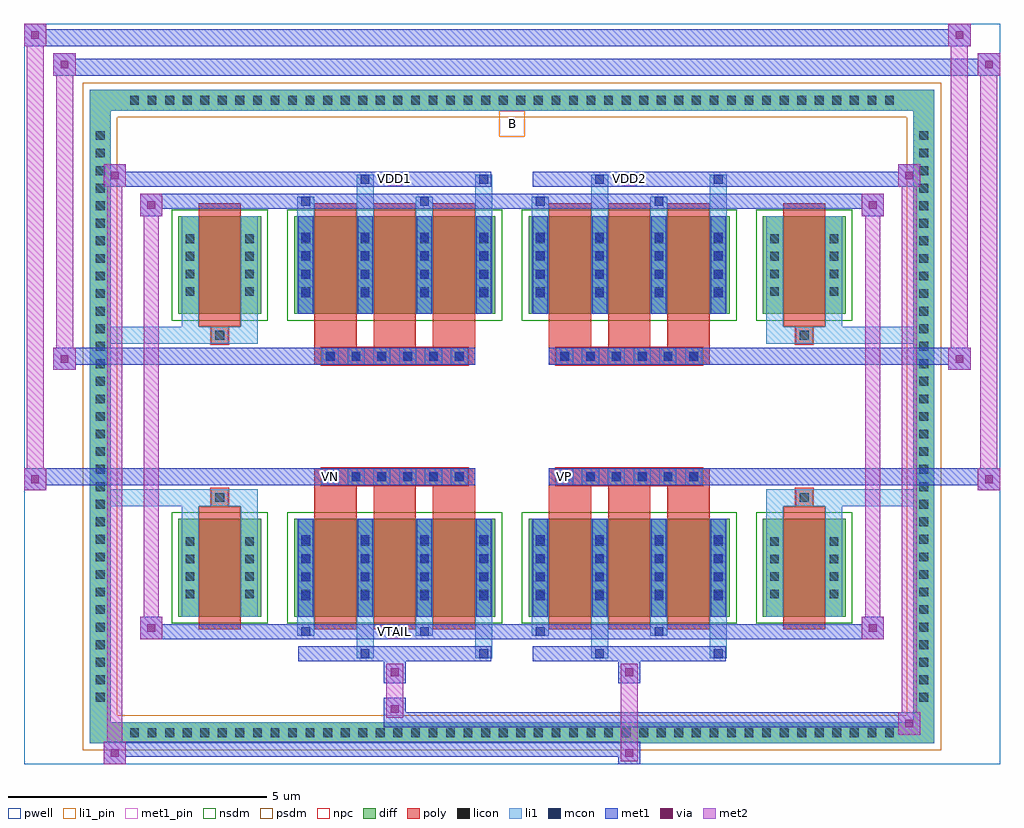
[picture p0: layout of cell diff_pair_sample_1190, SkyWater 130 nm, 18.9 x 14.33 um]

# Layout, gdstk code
import gdstk
lib = gdstk.Library(unit=1e-6, precision=5e-09)
def R(c, l, rs):  # rectangles x0, y0, x1, y1
    for r in rs: c.add(gdstk.rectangle(r[:2], r[2:], *l))
def A(c, l, x, y, w, h, nx, ny, dx, dy):  # array of equal rectangles
    R(c, l, [(x+i*dx, y+j*dy, x+i*dx+w, y+j*dy+h) for i in range(nx) for j in range(ny)])
def P(c, l, *ps):  # polygons
    for p in ps: c.add(gdstk.Polygon(p, *l))
pwell = (64, 44)
diff = (65, 20)
poly = (66, 20)
licon = (66, 44)
li1_pin = (67, 16)
li1 = (67, 20)
mcon = (67, 44)
met1_pin = (68, 16)
met1 = (68, 20)
via = (68, 44)
met2 = (69, 20)
nsdm = (93, 44)
psdm = (94, 20)
npc = (95, 20)

diff_pair_sample_1190 = lib.new_cell('diff_pair_sample_1190')
R(diff_pair_sample_1190, pwell, [(-9.45,-6.73,9.45,7.6), (-6.77,-4.92,-0.01,-0.8), (0.01,-4.92,6.77,-0.8), (-6.77,0.8,-0.01,4.92), (0.01,0.8,6.77,4.92)])
A(diff_pair_sample_1190, diff, -7.515, -6.33, 0.41, 0.41, 44, 2, 0.34, 12.25)
A(diff_pair_sample_1190, diff, -8.18, -5.645, 0.41, 0.41, 1, 33, 0, 0.34)
A(diff_pair_sample_1190, diff, 7.77, -5.645, 0.41, 0.41, 1, 33, 0, 0.34)
R(diff_pair_sample_1190, diff, [(-7.515,-6.33,7.515,-5.92), (-8.18,-5.645,-7.77,5.645), (7.77,-5.645,8.18,5.645), (-6.46,-3.875,-4.86,-1.985), (-4.22,-3.875,-0.32,-1.985), (0.32,-3.875,4.22,-1.985), (4.86,-3.875,6.46,-1.985), (-6.46,1.985,-4.86,3.875), (-4.22,1.985,-0.32,3.875), (0.32,1.985,4.22,3.875), (4.86,1.985,6.46,3.875), (-7.515,5.92,7.515,6.33)])
P(diff_pair_sample_1190, diff, [(8.18,6.33),(-8.18,6.33),(-8.18,-5.92),(-7.77,-5.92),(-7.77,5.92),(7.77,5.92),(7.77,-5.92),(-7.77,-5.92),(-8.18,-5.92),(-8.18,-6.33),(8.18,-6.33)])
A(diff_pair_sample_1190, poly, -3.83, -4.125, 0.82, 2.39, 3, 2, 1.15, 5.86)
A(diff_pair_sample_1190, poly, 0.71, -4.125, 0.82, 2.39, 3, 2, 1.15, 5.86)
A(diff_pair_sample_1190, poly, -3.83, -1.735, 0.82, 0.405, 3, 2, 1.15, 3.065)
A(diff_pair_sample_1190, poly, 0.71, -1.735, 0.82, 0.405, 3, 2, 1.15, 3.065)
A(diff_pair_sample_1190, poly, -3.685, -1.33, 0.33, 0.33, 6, 2, 0.5, 2.33)
A(diff_pair_sample_1190, poly, 0.855, -1.33, 0.33, 0.33, 6, 2, 0.5, 2.33)
R(diff_pair_sample_1190, poly, [(-6.07,-4.125,-5.25,-1.735), (5.25,-4.125,6.07,-1.735), (-5.825,-1.735,-5.495,-1.405), (-5.825,-1.735,-5.495,-1.405), (5.495,-1.735,5.825,-1.405), (5.495,-1.735,5.825,-1.405), (-3.83,-1.33,-0.71,-1), (0.71,-1.33,3.83,-1), (-3.83,1,-0.71,1.33), (0.71,1,3.83,1.33), (-5.825,1.405,-5.495,1.735), (-5.825,1.405,-5.495,1.735), (5.495,1.405,5.825,1.735), (5.495,1.405,5.825,1.735), (-6.07,1.735,-5.25,4.125), (5.25,1.735,6.07,4.125)])
A(diff_pair_sample_1190, licon, -7.395, -6.21, 0.17, 0.17, 44, 2, 0.34, 12.25)
A(diff_pair_sample_1190, licon, -8.06, -5.525, 0.17, 0.17, 1, 33, 0, 0.34)
A(diff_pair_sample_1190, licon, 7.89, -5.525, 0.17, 0.17, 1, 33, 0, 0.34)
A(diff_pair_sample_1190, licon, -6.32, -3.525, 0.17, 0.17, 1, 4, 0, 0.34)
A(diff_pair_sample_1190, licon, -5.17, -3.525, 0.17, 0.17, 1, 4, 0, 0.34)
A(diff_pair_sample_1190, licon, -4.08, -3.525, 0.17, 0.17, 4, 4, 1.15, 0.34)
A(diff_pair_sample_1190, licon, 0.46, -3.525, 0.17, 0.17, 4, 4, 1.15, 0.34)
A(diff_pair_sample_1190, licon, 5, -3.525, 0.17, 0.17, 1, 4, 0, 0.34)
A(diff_pair_sample_1190, licon, 6.15, -3.525, 0.17, 0.17, 1, 4, 0, 0.34)
A(diff_pair_sample_1190, licon, -3.605, -1.25, 0.17, 0.17, 6, 2, 0.5, 2.33)
A(diff_pair_sample_1190, licon, 0.935, -1.25, 0.17, 0.17, 6, 2, 0.5, 2.33)
A(diff_pair_sample_1190, licon, -6.32, 2.335, 0.17, 0.17, 1, 4, 0, 0.34)
A(diff_pair_sample_1190, licon, -5.17, 2.335, 0.17, 0.17, 1, 4, 0, 0.34)
A(diff_pair_sample_1190, licon, -4.08, 2.335, 0.17, 0.17, 4, 4, 1.15, 0.34)
A(diff_pair_sample_1190, licon, 0.46, 2.335, 0.17, 0.17, 4, 4, 1.15, 0.34)
A(diff_pair_sample_1190, licon, 5, 2.335, 0.17, 0.17, 1, 4, 0, 0.34)
A(diff_pair_sample_1190, licon, 6.15, 2.335, 0.17, 0.17, 1, 4, 0, 0.34)
R(diff_pair_sample_1190, licon, [(-5.745,-1.655,-5.575,-1.485), (5.575,-1.655,5.745,-1.485), (-5.745,1.485,-5.575,1.655), (5.575,1.485,5.745,1.655)])
R(diff_pair_sample_1190, li1_pin, [(-0.25,5.42,0.25,5.92)])
A(diff_pair_sample_1190, li1, -7.475, -6.29, 0.33, 0.33, 44, 2, 0.34, 12.25)
A(diff_pair_sample_1190, li1, -8.14, -5.605, 0.33, 0.33, 1, 33, 0, 0.34)
A(diff_pair_sample_1190, li1, 7.81, -5.605, 0.33, 0.33, 1, 33, 0, 0.34)
A(diff_pair_sample_1190, li1, -4.16, -3.875, 0.33, 1.89, 4, 2, 1.15, 5.86)
A(diff_pair_sample_1190, li1, 0.38, -3.875, 0.33, 1.89, 4, 2, 1.15, 5.86)
A(diff_pair_sample_1190, li1, -6.4, -3.605, 0.33, 0.33, 1, 4, 0, 0.34)
A(diff_pair_sample_1190, li1, -5.25, -3.605, 0.33, 0.33, 1, 4, 0, 0.34)
A(diff_pair_sample_1190, li1, -4.16, -3.605, 0.33, 0.33, 4, 4, 1.15, 0.34)
A(diff_pair_sample_1190, li1, 0.38, -3.605, 0.33, 0.33, 4, 4, 1.15, 0.34)
A(diff_pair_sample_1190, li1, 4.92, -3.605, 0.33, 0.33, 1, 4, 0, 0.34)
A(diff_pair_sample_1190, li1, 6.07, -3.605, 0.33, 0.33, 1, 4, 0, 0.34)
A(diff_pair_sample_1190, li1, -4.08, -3.555, 0.17, 0.17, 4, 4, 1.15, 0.36)
A(diff_pair_sample_1190, li1, -4.08, -3.555, 0.17, 1.25, 4, 2, 1.15, 5.86)
A(diff_pair_sample_1190, li1, 0.46, -3.555, 0.17, 0.17, 4, 4, 1.15, 0.36)
A(diff_pair_sample_1190, li1, 0.46, -3.555, 0.17, 1.25, 4, 2, 1.15, 5.86)
A(diff_pair_sample_1190, li1, -3.685, -1.33, 0.33, 0.33, 6, 2, 0.5, 2.33)
A(diff_pair_sample_1190, li1, 0.855, -1.33, 0.33, 0.33, 6, 2, 0.5, 2.33)
A(diff_pair_sample_1190, li1, -6.4, 2.255, 0.33, 0.33, 1, 4, 0, 0.34)
A(diff_pair_sample_1190, li1, -5.25, 2.255, 0.33, 0.33, 1, 4, 0, 0.34)
A(diff_pair_sample_1190, li1, -4.16, 2.255, 0.33, 0.33, 4, 4, 1.15, 0.34)
A(diff_pair_sample_1190, li1, 0.38, 2.255, 0.33, 0.33, 4, 4, 1.15, 0.34)
A(diff_pair_sample_1190, li1, 4.92, 2.255, 0.33, 0.33, 1, 4, 0, 0.34)
A(diff_pair_sample_1190, li1, 6.07, 2.255, 0.33, 0.33, 1, 4, 0, 0.34)
A(diff_pair_sample_1190, li1, -4.08, 2.305, 0.17, 0.17, 4, 4, 1.15, 0.36)
A(diff_pair_sample_1190, li1, 0.46, 2.305, 0.17, 0.17, 4, 4, 1.15, 0.36)
R(diff_pair_sample_1190, li1, [(-8.18,-6.33,-7.77,-5.92), (-8.18,-6.33,-7.77,-5.92), (-7.77,-6.33,7.77,-5.92), (7.77,-6.33,8.18,-5.92), (7.77,-6.33,8.18,-5.92), (-8.18,-5.92,-7.77,5.92), (7.77,-5.92,8.18,5.92), (-3.01,-4.68,-2.68,-3.875), (-2.93,-4.68,-2.76,-4.51), (-0.71,-4.68,-0.38,-3.875), (-0.63,-4.68,-0.46,-4.51), (1.53,-4.68,1.86,-3.875), (1.61,-4.68,1.78,-4.51), (3.83,-4.68,4.16,-3.875), (3.91,-4.68,4.08,-4.51), (-4.16,-4.25,-3.83,-3.875), (-4.08,-4.25,-3.91,-4.08), (-1.86,-4.25,-1.53,-3.875), (-1.78,-4.25,-1.61,-4.08), (0.38,-4.25,0.71,-3.875), (0.46,-4.25,0.63,-4.08), (2.68,-4.25,3.01,-3.875), (2.76,-4.25,2.93,-4.08), (-6.4,-3.875,-6.07,-1.985), (-5.25,-3.875,-4.92,-1.985), (4.92,-3.875,5.25,-1.985), (6.07,-3.875,6.4,-1.985), (-6.4,-1.985,-6.07,-1.405), (-5.25,-1.985,-4.92,-1.405), (4.92,-1.985,5.25,-1.405), (6.07,-1.985,6.4,-1.405), (-8.18,-1.735,-5.825,-1.405), (-6.4,-1.735,-5.825,-1.405), (-5.825,-1.735,-5.495,-1.405), (-5.495,-1.735,-4.92,-1.405), (4.92,-1.735,5.495,-1.405), (5.495,-1.735,5.825,-1.405), (5.495,-1.735,8.18,-1.405), (5.825,-1.735,6.4,-1.405), (-8.18,1.405,-5.825,1.735), (-6.4,1.405,-5.825,1.735), (-6.4,1.405,-6.07,1.985), (-5.825,1.405,-5.495,1.735), (-5.495,1.405,-4.92,1.735), (-5.25,1.405,-4.92,1.985), (4.92,1.405,5.495,1.735), (4.92,1.405,5.25,1.985), (5.495,1.405,5.825,1.735), (5.495,1.405,8.18,1.735), (5.825,1.405,6.4,1.735), (6.07,1.405,6.4,1.985), (-6.4,1.985,-6.07,3.875), (-5.25,1.985,-4.92,3.875), (4.92,1.985,5.25,3.875), (6.07,1.985,6.4,3.875), (-4.16,3.875,-3.83,4.25), (-3.01,3.875,-2.68,4.68), (-1.86,3.875,-1.53,4.25), (-0.71,3.875,-0.38,4.68), (0.38,3.875,0.71,4.25), (1.53,3.875,1.86,4.68), (2.68,3.875,3.01,4.25), (3.83,3.875,4.16,4.68), (-4.08,4.08,-3.91,4.25), (-1.78,4.08,-1.61,4.25), (0.46,4.08,0.63,4.25), (2.76,4.08,2.93,4.25), (-2.93,4.51,-2.76,4.68), (-0.63,4.51,-0.46,4.68), (1.61,4.51,1.78,4.68), (3.91,4.51,4.08,4.68), (-8.18,5.92,-7.77,6.33), (-8.18,5.92,-7.77,6.33), (-7.77,5.92,7.77,6.33), (7.77,5.92,8.18,6.33), (7.77,5.92,8.18,6.33)])
A(diff_pair_sample_1190, mcon, -4.08, -3.555, 0.17, 0.17, 4, 4, 1.15, 0.36)
A(diff_pair_sample_1190, mcon, 0.46, -3.555, 0.17, 0.17, 4, 4, 1.15, 0.36)
A(diff_pair_sample_1190, mcon, -3.605, -1.25, 0.17, 0.17, 6, 2, 0.5, 2.33)
A(diff_pair_sample_1190, mcon, 0.935, -1.25, 0.17, 0.17, 6, 2, 0.5, 2.33)
A(diff_pair_sample_1190, mcon, -4.08, 2.305, 0.17, 0.17, 4, 4, 1.15, 0.36)
A(diff_pair_sample_1190, mcon, 0.46, 2.305, 0.17, 0.17, 4, 4, 1.15, 0.36)
R(diff_pair_sample_1190, mcon, [(-2.93,-4.68,-2.76,-4.51), (-0.63,-4.68,-0.46,-4.51), (1.61,-4.68,1.78,-4.51), (3.91,-4.68,4.08,-4.51), (-4.08,-4.25,-3.91,-4.08), (-1.78,-4.25,-1.61,-4.08), (0.46,-4.25,0.63,-4.08), (2.76,-4.25,2.93,-4.08), (-4.08,4.08,-3.91,4.25), (-1.78,4.08,-1.61,4.25), (0.46,4.08,0.63,4.25), (2.76,4.08,2.93,4.25), (-2.93,4.51,-2.76,4.68), (-0.63,4.51,-0.46,4.68), (1.61,4.51,1.78,4.68), (3.91,4.51,4.08,4.68)])
R(diff_pair_sample_1190, met1_pin, [(-2.405,-4.29,-2.135,-4.02), (-3.655,-1.29,-3.385,-1.02), (0.885,-1.29,1.155,-1.02), (-2.405,4.47,-2.135,4.74), (2.135,4.47,2.405,4.74)])
A(diff_pair_sample_1190, met1, -4.14, -3.875, 0.29, 1.89, 4, 2, 1.15, 5.86)
A(diff_pair_sample_1190, met1, 0.4, -3.875, 0.29, 1.89, 4, 2, 1.15, 5.86)
A(diff_pair_sample_1190, met1, -4.14, -3.615, 0.29, 0.29, 4, 4, 1.15, 0.36)
A(diff_pair_sample_1190, met1, 0.4, -3.615, 0.29, 0.29, 4, 4, 1.15, 0.36)
A(diff_pair_sample_1190, met1, -3.665, -1.31, 0.29, 0.29, 6, 2, 0.5, 2.33)
A(diff_pair_sample_1190, met1, 0.875, -1.31, 0.29, 0.29, 6, 2, 0.5, 2.33)
A(diff_pair_sample_1190, met1, -4.14, 2.245, 0.29, 0.29, 4, 4, 1.15, 0.36)
A(diff_pair_sample_1190, met1, 0.4, 2.245, 0.29, 0.29, 4, 4, 1.15, 0.36)
R(diff_pair_sample_1190, met1, [(-7.91,-6.73,-7.48,-6.3), (2.055,-6.73,2.485,-6.3), (-7.91,-6.59,2.485,-6.3), (7.48,-6.16,7.91,-5.73), (-2.485,-6.02,7.91,-5.73), (-2.485,-5.88,-2.055,-5.45), (-2.485,-5.17,-2.055,-4.74), (2.055,-5.17,2.485,-4.74), (-4.14,-4.74,-0.4,-4.45), (-2.99,-4.74,-2.7,-4.45), (-0.69,-4.74,-0.4,-4.45), (0.4,-4.74,4.14,-4.45), (1.55,-4.74,1.84,-4.45), (3.85,-4.74,4.14,-4.45), (-7.2,-4.31,-6.77,-3.88), (-7.2,-4.31,-4.14,-4.02), (-4.14,-4.31,-3.85,-4.02), (-4.14,-4.31,-0.4,-4.02), (-1.84,-4.31,-1.55,-4.02), (-0.4,-4.31,0.4,-4.02), (0.4,-4.31,0.69,-4.02), (0.4,-4.31,4.14,-4.02), (2.7,-4.31,2.99,-4.02), (4.14,-4.31,7.2,-4.02), (6.77,-4.31,7.2,-3.88), (-9.45,-1.43,-9.02,-1), (9.02,-1.43,9.45,-1), (-9.45,-1.33,-0.71,-1), (-3.83,-1.33,-0.71,-1), (0.71,-1.33,3.83,-1), (0.71,-1.33,9.45,-1), (-8.88,0.9,-8.45,1.33), (8.45,0.9,8.88,1.33), (-8.88,1,-3.83,1.33), (-3.83,1,-0.71,1.33), (0.71,1,3.83,1.33), (3.83,1,8.88,1.33), (-7.2,3.88,-6.77,4.31), (6.77,3.88,7.2,4.31), (-7.2,4.02,-4.14,4.31), (-4.14,4.02,-3.85,4.31), (-4.14,4.02,-0.4,4.31), (-1.84,4.02,-1.55,4.31), (-0.4,4.02,0.4,4.31), (0.4,4.02,0.69,4.31), (0.4,4.02,4.14,4.31), (2.7,4.02,2.99,4.31), (4.14,4.02,7.2,4.31), (-7.91,4.45,-7.48,4.88), (-7.91,4.45,-4.14,4.74), (-4.14,4.45,-0.4,4.74), (-2.99,4.45,-2.7,4.74), (-0.69,4.45,-0.4,4.74), (0.4,4.45,4.14,4.74), (1.55,4.45,1.84,4.74), (3.85,4.45,4.14,4.74), (4.14,4.45,7.91,4.74), (7.48,4.45,7.91,4.88), (-8.88,6.6,-8.45,7.03), (-8.88,6.6,-6.77,6.93), (-6.77,6.6,6.77,6.93), (6.77,6.6,9.45,6.93), (9.02,6.6,9.45,7.03), (-9.45,7.17,-9.02,7.6), (-9.45,7.17,-6.77,7.5), (-6.77,7.17,6.77,7.5), (6.77,7.17,8.88,7.5), (8.45,7.17,8.88,7.6)])
R(diff_pair_sample_1190, via, [(-7.77,-6.59,-7.62,-6.44), (2.195,-6.59,2.345,-6.44), (7.62,-6.02,7.77,-5.87), (-2.345,-5.74,-2.195,-5.59), (-2.345,-5.03,-2.195,-4.88), (2.195,-5.03,2.345,-4.88), (-7.06,-4.17,-6.91,-4.02), (6.91,-4.17,7.06,-4.02), (-9.31,-1.29,-9.16,-1.14), (9.16,-1.29,9.31,-1.14), (-8.74,1.04,-8.59,1.19), (8.59,1.04,8.74,1.19), (-7.06,4.02,-6.91,4.17), (6.91,4.02,7.06,4.17), (-7.77,4.59,-7.62,4.74), (7.62,4.59,7.77,4.74), (-8.74,6.74,-8.59,6.89), (9.16,6.74,9.31,6.89), (-9.31,7.31,-9.16,7.46), (8.59,7.31,8.74,7.46)])
R(diff_pair_sample_1190, met2, [(-7.91,-6.73,-7.48,-6.3), (-7.84,-6.73,-7.55,4.88), (-7.55,-6.73,-7.48,-6.3), (-7.86,-6.68,-7.53,-6.35), (2.105,-6.68,2.435,-6.35), (2.105,-6.35,2.435,-5.12), (7.48,-6.16,7.91,-5.73), (7.55,-6.16,7.84,4.88), (7.84,-6.16,7.91,-5.73), (7.53,-6.11,7.86,-5.78), (-2.435,-5.83,-2.105,-5.5), (-2.435,-5.5,-2.105,-5.12), (-2.435,-5.12,-2.105,-4.79), (2.105,-5.12,2.435,-4.79), (-7.2,-4.31,-6.77,-3.88), (-7.13,-4.31,-6.84,4.31), (-6.84,-4.31,-6.77,-3.88), (6.77,-4.31,7.2,-3.88), (6.84,-4.31,7.13,4.31), (7.13,-4.31,7.2,-3.88), (-7.15,-4.26,-6.82,-3.93), (6.82,-4.26,7.15,-3.93), (-9.45,-1.43,-9.02,-1), (-9.4,-1.43,-9.07,7.6), (-9.07,-1.43,-9.02,-1), (9.02,-1.43,9.45,-1), (9.07,-1.43,9.4,7.03), (9.4,-1.43,9.45,-1), (-9.4,-1.38,-9.07,-1.05), (9.07,-1.38,9.4,-1.05), (-8.88,0.9,-8.45,1.33), (-8.83,0.9,-8.5,7.03), (-8.5,0.9,-8.45,1.33), (8.45,0.9,8.88,1.33), (8.5,0.9,8.83,7.6), (8.83,0.9,8.88,1.33), (-8.83,0.95,-8.5,1.28), (8.5,0.95,8.83,1.28), (-7.2,3.88,-6.77,4.31), (-6.84,3.88,-6.77,4.31), (6.77,3.88,7.2,4.31), (7.13,3.88,7.2,4.31), (-7.15,3.93,-6.82,4.26), (6.82,3.93,7.15,4.26), (-7.91,4.45,-7.48,4.88), (-7.55,4.45,-7.48,4.88), (7.48,4.45,7.91,4.88), (7.84,4.45,7.91,4.88), (-7.86,4.5,-7.53,4.83), (7.53,4.5,7.86,4.83), (-8.88,6.6,-8.45,7.03), (-8.5,6.6,-8.45,7.03), (9.02,6.6,9.45,7.03), (9.4,6.6,9.45,7.03), (-8.83,6.65,-8.5,6.98), (9.07,6.65,9.4,6.98), (-9.45,7.17,-9.02,7.6), (-9.07,7.17,-9.02,7.6), (8.45,7.17,8.88,7.6), (8.83,7.17,8.88,7.6), (-9.4,7.22,-9.07,7.55), (8.5,7.22,8.83,7.55)])
R(diff_pair_sample_1190, nsdm, [(-6.59,-4.005,-4.73,-1.855), (-4.35,-4.005,-0.19,-1.855), (0.19,-4.005,4.35,-1.855), (4.73,-4.005,6.59,-1.855), (-6.59,1.855,-4.73,4.005), (-4.35,1.855,-0.19,4.005), (0.19,1.855,4.35,4.005), (4.73,1.855,6.59,4.005)])
P(diff_pair_sample_1190, psdm, [(8.31,6.46),(-8.31,6.46),(-8.31,-5.79),(-7.64,-5.79),(-7.64,5.79),(7.64,5.79),(7.64,-5.79),(-7.64,-5.79),(-8.31,-5.79),(-8.31,-6.46),(8.31,-6.46)])
A(diff_pair_sample_1190, npc, -3.705, -1.35, 0.37, 0.37, 6, 2, 0.5, 2.33)
A(diff_pair_sample_1190, npc, 0.835, -1.35, 0.37, 0.37, 6, 2, 0.5, 2.33)
R(diff_pair_sample_1190, npc, [(-5.845,-1.755,-5.475,-1.385), (5.475,-1.755,5.845,-1.385), (-3.705,-1.35,-2.835,-0.98), (-3.705,-1.35,-2.835,-0.98), (-3.205,-1.35,-2.335,-0.98), (-3.205,-1.35,-2.335,-0.98), (-2.705,-1.35,-1.835,-0.98), (-2.705,-1.35,-1.835,-0.98), (-2.205,-1.35,-1.335,-0.98), (-2.205,-1.35,-1.335,-0.98), (-1.705,-1.35,-0.835,-0.98), (-1.705,-1.35,-0.835,-0.98), (0.835,-1.35,1.705,-0.98), (0.835,-1.35,1.705,-0.98), (1.335,-1.35,2.205,-0.98), (1.335,-1.35,2.205,-0.98), (1.835,-1.35,2.705,-0.98), (1.835,-1.35,2.705,-0.98), (2.335,-1.35,3.205,-0.98), (2.335,-1.35,3.205,-0.98), (2.835,-1.35,3.705,-0.98), (2.835,-1.35,3.705,-0.98), (-3.705,0.98,-2.835,1.35), (-3.705,0.98,-2.835,1.35), (-3.205,0.98,-2.335,1.35), (-3.205,0.98,-2.335,1.35), (-2.705,0.98,-1.835,1.35), (-2.705,0.98,-1.835,1.35), (-2.205,0.98,-1.335,1.35), (-2.205,0.98,-1.335,1.35), (-1.705,0.98,-0.835,1.35), (-1.705,0.98,-0.835,1.35), (0.835,0.98,1.705,1.35), (0.835,0.98,1.705,1.35), (1.335,0.98,2.205,1.35), (1.335,0.98,2.205,1.35), (1.835,0.98,2.705,1.35), (1.835,0.98,2.705,1.35), (2.335,0.98,3.205,1.35), (2.335,0.98,3.205,1.35), (2.835,0.98,3.705,1.35), (2.835,0.98,3.705,1.35), (-5.845,1.385,-5.475,1.755), (5.475,1.385,5.845,1.755)])
diff_pair_sample_1190.add(gdstk.Label('VTAIL', (-2.27,-4.155), layer=68, texttype=5))
diff_pair_sample_1190.add(gdstk.Label('VN', (-3.52,-1.155), layer=68, texttype=5))
diff_pair_sample_1190.add(gdstk.Label('VP', (1.02,-1.155), layer=68, texttype=5))
diff_pair_sample_1190.add(gdstk.Label('B', (0,5.67), layer=67, texttype=5))
diff_pair_sample_1190.add(gdstk.Label('VDD2', (2.27,4.605), layer=68, texttype=5))
diff_pair_sample_1190.add(gdstk.Label('VDD1', (-2.27,4.605), layer=68, texttype=5))

lib.write_gds('diff_pair_sample_1190.gds')
